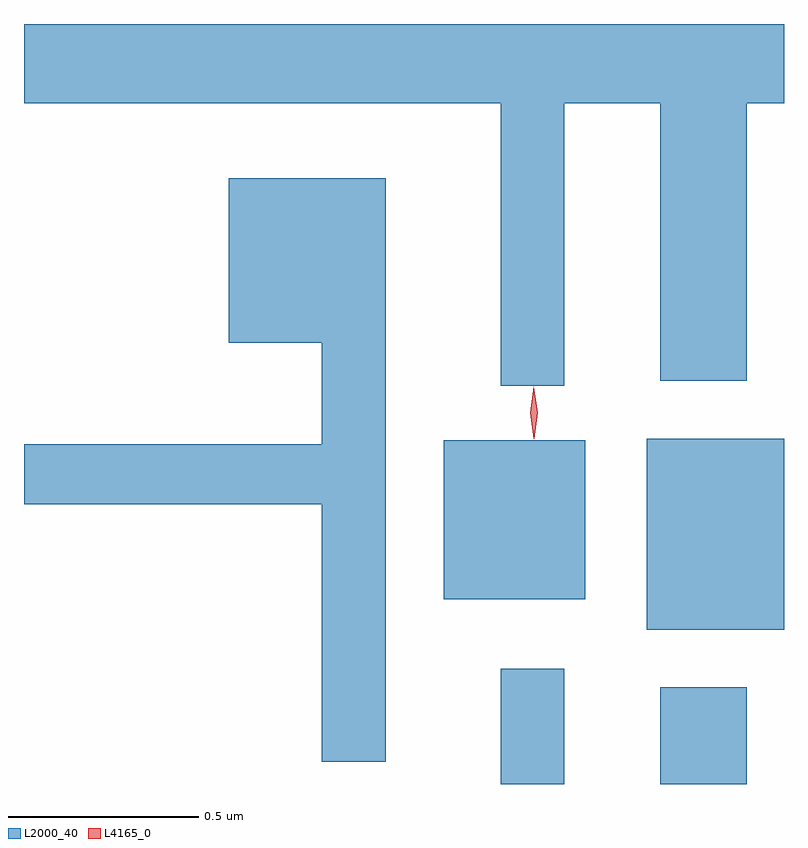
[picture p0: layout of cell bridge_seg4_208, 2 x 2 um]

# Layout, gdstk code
import gdstk
lib = gdstk.Library(unit=1e-6, precision=1e-09)
def R(c, l, rs):  # rectangles x0, y0, x1, y1
    for r in rs: c.add(gdstk.rectangle(r[:2], r[2:], *l))
def P(c, l, *ps):  # polygons
    for p in ps: c.add(gdstk.Polygon(p, *l))
L2000_40 = (2000, 40)
L4165_0 = (4165, 0)

bridge_seg4_208 = lib.new_cell('bridge_seg4_208')
R(bridge_seg4_208, L2000_40, [(1071.081,1259.645,1071.249,1259.948), (1071.501,1259.645,1071.729,1259.899), (1071.466,1260.051,1071.827,1260.554), (1070.931,1260.131,1071.304,1260.549)])
P(bridge_seg4_208, L2000_40, [(1069.827,1261.436),(1071.081,1261.436),(1071.081,1260.693),(1071.249,1260.693),(1071.249,1261.436),(1071.501,1261.436),(1071.501,1260.706),(1071.729,1260.706),(1071.729,1261.436),(1071.827,1261.436),(1071.827,1261.645),(1069.827,1261.645)],
  [(1070.779,1261.239),(1070.366,1261.239),(1070.366,1260.806),(1070.611,1260.806),(1070.611,1260.539),(1069.827,1260.539),(1069.827,1260.381),(1070.611,1260.381),(1070.611,1259.703),(1070.779,1259.703)])
P(bridge_seg4_208, L4165_0, [(1071.17,1260.558),(1071.169,1260.559),(1071.159,1260.622),(1071.168,1260.686),(1071.169,1260.687),(1071.169,1260.686),(1071.179,1260.623),(1071.17,1260.559)],
  [(1071.169,1260.554),(1071.169,1260.554),(1071.159,1260.622),(1071.168,1260.69),(1071.169,1260.69),(1071.169,1260.69),(1071.179,1260.622),(1071.17,1260.554)])

lib.write_gds('bridge_seg4_208.gds')
